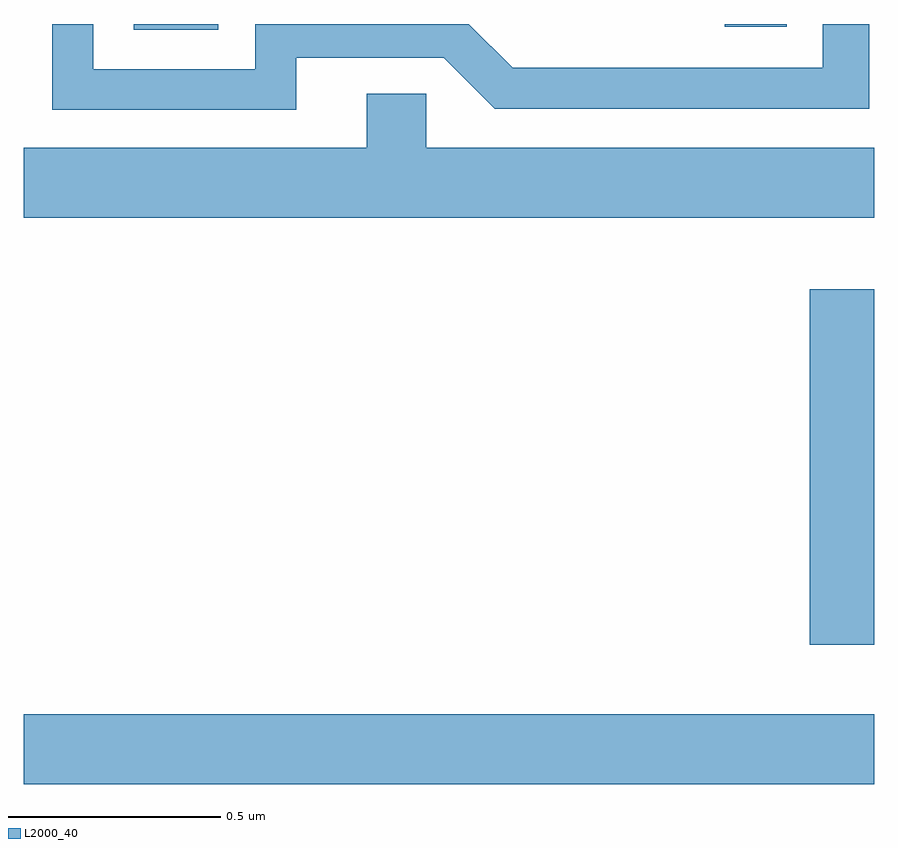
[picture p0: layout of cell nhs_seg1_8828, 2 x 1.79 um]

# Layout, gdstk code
import gdstk
lib = gdstk.Library(unit=1e-6, precision=1e-09)
def R(c, l, rs):  # rectangles x0, y0, x1, y1
    for r in rs: c.add(gdstk.rectangle(r[:2], r[2:], *l))
def P(c, l, *ps):  # polygons
    for p in ps: c.add(gdstk.Polygon(p, *l))
L2000_40 = (2000, 40)

nhs_seg1_8828 = lib.new_cell('nhs_seg1_8828')
R(nhs_seg1_8828, L2000_40, [(221,538.412,223,538.576), (222.848,538.74,223,539.575), (221.259,540.185,221.457,540.199), (222.648,540.192,222.794,540.199)])
P(nhs_seg1_8828, L2000_40, [(221.641,540.12),(221.988,540.12),(222.108,540),(222.988,540),(222.988,540.199),(222.879,540.199),(222.879,540.096),(222.15,540.096),(222.047,540.199),(221.544,540.199),(221.544,540.093),(221.163,540.093),(221.163,540.199),(221.067,540.199),(221.067,539.997),(221.641,539.997)],
  [(223,539.908),(221.946,539.908),(221.946,540.035),(221.807,540.035),(221.807,539.908),(221,539.908),(221,539.744),(223,539.744)])

lib.write_gds('nhs_seg1_8828.gds')
